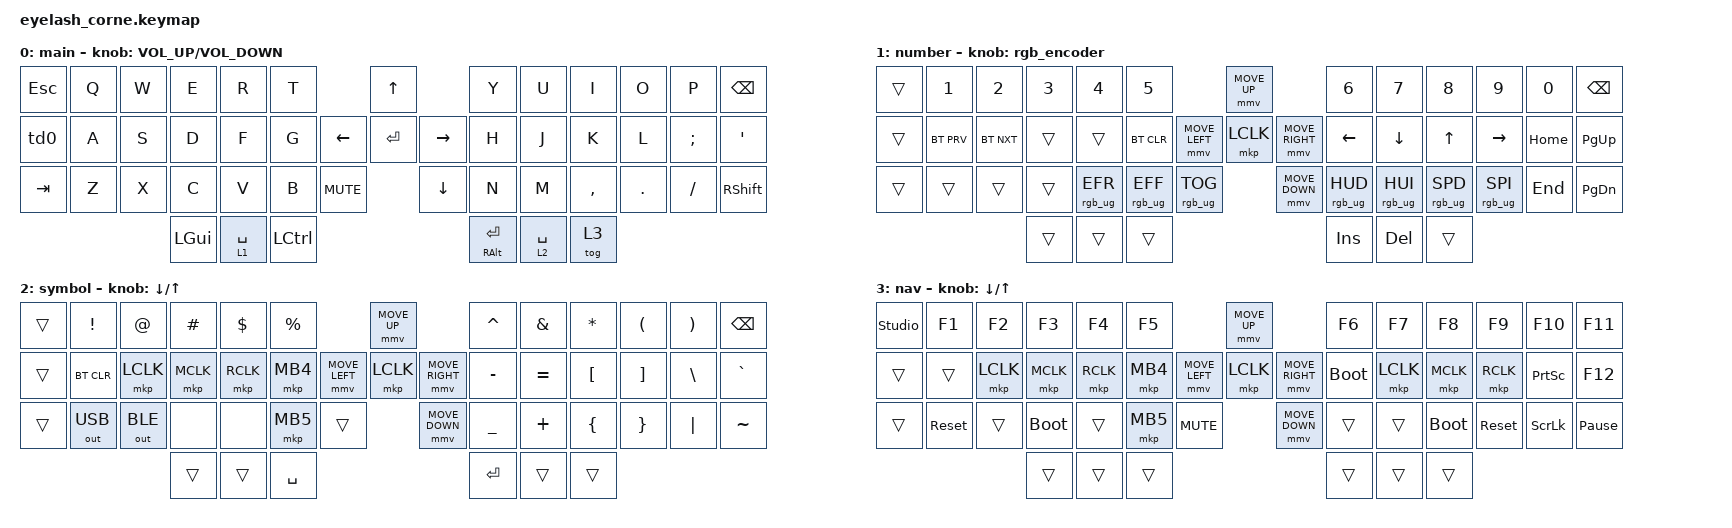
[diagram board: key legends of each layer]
#define ZMK_POINTING_DEFAULT_MOVE_VAL 1200  // 600
#define ZMK_POINTING_DEFAULT_SCRL_VAL 25   // 10

#include <input/processors.dtsi>
#include <zephyr/dt-bindings/input/input-event-codes.h>
#include <behaviors.dtsi>
#include <dt-bindings/zmk/bt.h>
#include <dt-bindings/zmk/keys.h>
#include <dt-bindings/zmk/outputs.h>
#include <dt-bindings/zmk/pointing.h>
#include <dt-bindings/zmk/rgb.h>

&mmv_input_listener { input-processors = <&zip_xy_scaler 2 1>; };

&msc_input_listener { input-processors = <&zip_scroll_scaler 2 1>; };

&msc {
    acceleration-exponent = <1>;      // 0
    time-to-max-speed-ms = <100>;       // 300
    delay-ms = <0>;                   // 0
};

&mmv {
    time-to-max-speed-ms = <500>;
    acceleration-exponent = <1>;
    trigger-period-ms = <16>;
};

&soft_off { hold-time-ms = <2000>; };

/ {
    behaviors {
        td0: td0 {
            compatible = "zmk,behavior-tap-dance";
            display-name = "Shift/Caps Lock Tap Dance";
            #binding-cells = <0>;
            bindings = <&kp LEFT_SHIFT>, <&kp CAPS>;
        };
    };

    rgb_encoder: rgb_encoder {
        compatible = "zmk,behavior-sensor-rotate";
        #sensor-binding-cells = <0>;
        bindings = <&rgb_ug RGB_BRI>, <&rgb_ug RGB_BRD>;
    };

    scroll_encoder: scroll_encoder {
        compatible = "zmk,behavior-sensor-rotate";
        #sensor-binding-cells = <0>;
        bindings = <&msc SCRL_DOWN>, <&msc SCRL_UP>;

        tap-ms = <100>;
    };

    combos {
        compatible = "zmk,combos";

        softoff {
            bindings = <&soft_off>;
            key-positions = <1 15 29>;
        };
    };

    keymap {
        compatible = "zmk,keymap";

        default_layer {
            display-name = "main";
            bindings = <
&kp ESC  &kp Q  &kp W  &kp E     &kp R        &kp T                                     &kp UP                &kp Y                &kp U        &kp I      &kp O    &kp P     &kp BSPC
&td0     &kp A  &kp S  &kp D     &kp F        &kp G                           &kp LEFT  &kp ENTER  &kp RIGHT  &kp H                &kp J        &kp K      &kp L    &kp SEMI  &kp SQT
&kp TAB  &kp Z  &kp X  &kp C     &kp V        &kp B             &kp C_MUTE              &kp DOWN              &kp N                &kp M        &kp COMMA  &kp DOT  &kp FSLH  &kp RIGHT_SHIFT
                       &kp LGUI  &lt 1 SPACE  &kp LEFT_CONTROL                                                &mt RIGHT_ALT ENTER  &lt 2 SPACE  &tog 3
            >;

            sensor-bindings = <&inc_dec_kp C_VOLUME_UP C_VOLUME_DOWN>;
        };

        lower_layer {
            display-name = "number";
            bindings = <
&trans  &kp N1      &kp N2      &kp N3  &kp N4           &kp N5                                              &mmv MOVE_UP                     &kp N6           &kp N7           &kp N8           &kp N9           &kp N0    &kp BSPC
&trans  &bt BT_PRV  &bt BT_NXT  &trans  &trans           &bt BT_CLR                          &mmv MOVE_LEFT  &mkp LCLK       &mmv MOVE_RIGHT  &kp LEFT         &kp DOWN         &kp UP           &kp RIGHT        &kp HOME  &kp PG_UP
&trans  &trans      &trans      &trans  &rgb_ug RGB_EFR  &rgb_ug RGB_EFF  &rgb_ug RGB_TOG                    &mmv MOVE_DOWN                   &rgb_ug RGB_HUD  &rgb_ug RGB_HUI  &rgb_ug RGB_SPD  &rgb_ug RGB_SPI  &kp END   &kp PG_DN
                                &trans  &trans           &trans                                                                               &kp INS          &kp DEL          &trans
            >;

            sensor-bindings = <&rgb_encoder>;
        };

        raise_layer {
            display-name = "symbol";
            bindings = <
&trans  &kp EXCL      &kp AT        &kp HASH   &kp DLLR   &kp PRCNT                            &mmv MOVE_UP                     &kp CARET  &kp AMPS   &kp ASTRK  &kp LPAR  &kp RPAR  &kp BSPC
&trans  &bt BT_CLR    &mkp LCLK     &mkp MCLK  &mkp RCLK  &mkp MB4             &mmv MOVE_LEFT  &mkp LCLK       &mmv MOVE_RIGHT  &kp MINUS  &kp EQUAL  &kp LBKT   &kp RBKT  &kp BSLH  &kp GRAVE
&trans  &out OUT_USB  &out OUT_BLE  &none      &none      &mkp MB5   &trans                    &mmv MOVE_DOWN                   &kp UNDER  &kp PLUS   &kp LBRC   &kp RBRC  &kp PIPE  &kp TILDE
                                    &trans     &trans     &kp SPACE                                                             &kp RET    &trans     &trans
            >;

            sensor-bindings = <&inc_dec_kp DOWN UP>;
        };

        layer_3 {
            display-name = "nav";
            bindings = <
&studio_unlock  &kp F1      &kp F2     &kp F3       &kp F4     &kp F5                                  &mmv MOVE_UP                     &kp F6       &kp F7     &kp F8       &kp F9      &kp F10          &kp F11
&trans          &trans      &mkp LCLK  &mkp MCLK    &mkp RCLK  &mkp MB4                &mmv MOVE_LEFT  &mkp LCLK       &mmv MOVE_RIGHT  &bootloader  &mkp LCLK  &mkp MCLK    &mkp RCLK   &kp PRINTSCREEN  &kp F12
&trans          &sys_reset  &trans     &bootloader  &trans     &mkp MB5  &kp C_MUTE                    &mmv MOVE_DOWN                   &trans       &trans     &bootloader  &sys_reset  &kp SCROLLLOCK   &kp PAUSE_BREAK
                                       &trans       &trans     &trans                                                                   &trans       &trans     &trans
            >;

            sensor-bindings = <&inc_dec_kp DOWN UP>;
        };
    };
};
